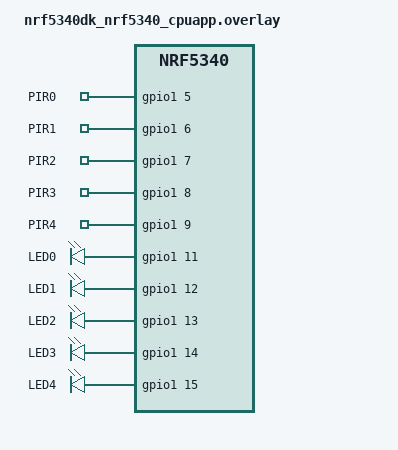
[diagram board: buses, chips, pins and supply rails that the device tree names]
/ {
  gpio_keys: gpio_keys {
    compatible = "gpio-keys";
    pir0: pir0 { gpios = <&gpio1 5 GPIO_ACTIVE_HIGH>; label = "PIR0"; };
    pir1: pir1 { gpios = <&gpio1 6 GPIO_ACTIVE_HIGH>; label = "PIR1"; };
    pir2: pir2 { gpios = <&gpio1 7 GPIO_ACTIVE_HIGH>; label = "PIR2"; };
    pir3: pir3 { gpios = <&gpio1 8 GPIO_ACTIVE_HIGH>; label = "PIR3"; };
    pir4: pir4 { gpios = <&gpio1 9 GPIO_ACTIVE_HIGH>; label = "PIR4"; };
  };
};

/ {
    leds {
        compatible = "gpio-leds";
        led0: led_0 { gpios = <&gpio1 11 GPIO_ACTIVE_HIGH>; label = "LED0"; };
        led1: led_1 { gpios = <&gpio1 12 GPIO_ACTIVE_HIGH>; label = "LED1"; };
        led2: led_2 { gpios = <&gpio1 13 GPIO_ACTIVE_HIGH>; label = "LED2"; };
        led3: led_3 { gpios = <&gpio1 14 GPIO_ACTIVE_HIGH>; label = "LED3"; };
        led4: led_4 { gpios = <&gpio1 15 GPIO_ACTIVE_HIGH>; label = "LED4"; };
    };

    aliases {
        led0 = &led0;
        led1 = &led1;
        led2 = &led2;
        led3 = &led3;
        led4 = &led4;
    };
};
